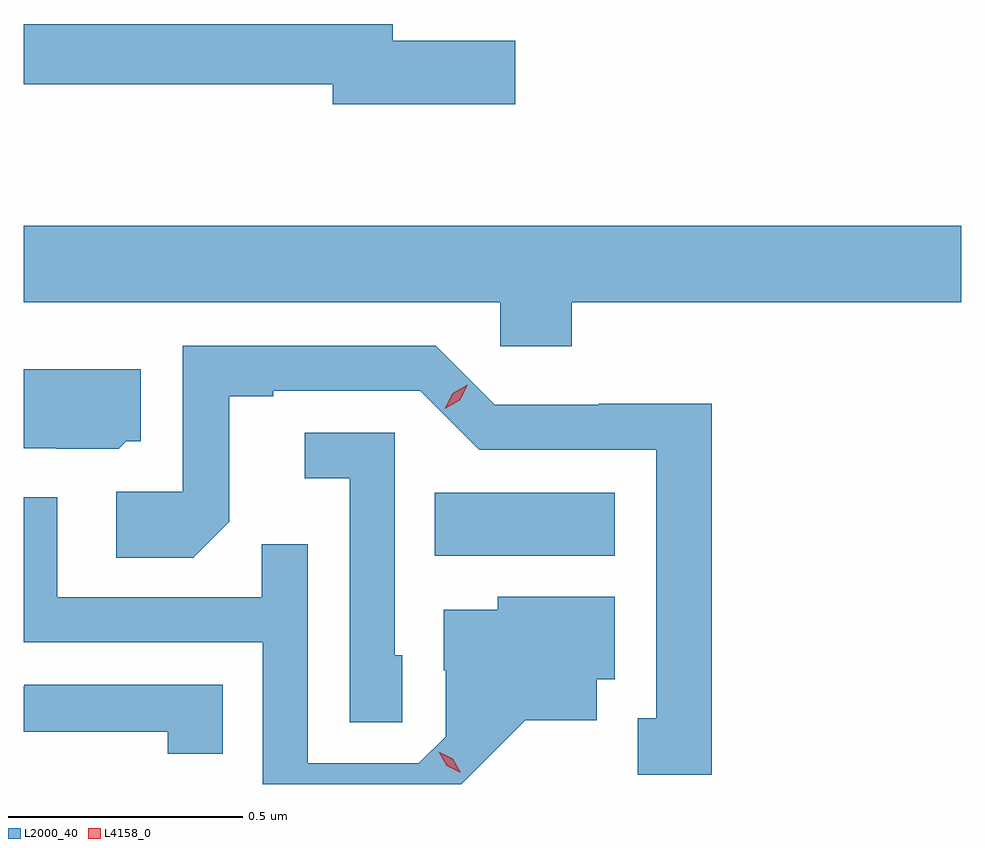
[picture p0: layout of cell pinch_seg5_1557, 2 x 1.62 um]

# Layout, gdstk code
import gdstk
lib = gdstk.Library(unit=1e-6, precision=1e-09)
def R(c, l, rs):  # rectangles x0, y0, x1, y1
    for r in rs: c.add(gdstk.rectangle(r[:2], r[2:], *l))
def P(c, l, *ps):  # polygons
    for p in ps: c.add(gdstk.Polygon(p, *l))
L2000_40 = (2000, 40)
L4158_0 = (4158, 0)

pinch_seg5_1557 = lib.new_cell('pinch_seg5_1557')
R(pinch_seg5_1557, L2000_40, [(315.19,856.22,315.574,856.354)])
P(pinch_seg5_1557, L2000_40, [(315.361,857.318),(315.1,857.318),(315.1,857.354),(314.313,857.354),(314.313,857.226),(314.972,857.226),(314.972,857.183),(315.361,857.183)],
  [(315.482,856.76),(316.313,856.76),(316.313,856.924),(314.313,856.924),(314.313,856.76),(315.33,856.76),(315.33,856.667),(315.482,856.667)],
  [(315.781,856.544),(315.54,856.544),(315.54,856.542),(315.318,856.542),(315.192,856.668),(314.652,856.668),(314.652,856.356),(314.511,856.356),(314.511,856.216),(314.675,856.216),(314.751,856.292),(314.751,856.56),(314.845,856.56),(314.845,856.572),(315.159,856.572),(315.285,856.446),(315.662,856.446),(315.662,855.873),(315.623,855.873),(315.623,855.753),(315.781,855.753)],
  [(314.532,856.464),(314.563,856.464),(314.563,856.618),(314.313,856.618),(314.313,856.449),(314.382,856.449),(314.382,856.448),(314.516,856.448)],
  [(315.12,856.008),(315.105,856.008),(315.105,856.482),(314.913,856.482),(314.913,856.385),(315.009,856.385),(315.009,855.865),(315.12,855.865)],
  [(315.28,855.767),(315.383,855.869),(315.535,855.869),(315.535,855.956),(315.574,855.956),(315.574,856.132),(315.324,856.132),(315.324,856.105),(315.209,856.105),(315.209,855.976),(315.213,855.976),(315.213,855.834),(315.156,855.777),(314.919,855.777),(314.919,856.244),(314.821,856.244),(314.821,856.131),(314.385,856.131),(314.385,856.345),(314.313,856.345),(314.313,856.035),(314.823,856.035),(314.823,855.733),(315.246,855.733)],
  [(314.738,855.945),(314.314,855.945),(314.314,855.942),(314.313,855.942),(314.313,855.844),(314.62,855.844),(314.62,855.798),(314.738,855.798)])
P(pinch_seg5_1557, L4158_0, [(315.211,856.533),(315.211,856.533),(315.228,856.566),(315.26,856.585),(315.26,856.585),(315.26,856.585),(315.243,856.552),(315.211,856.533)],
  [(315.245,855.757),(315.215,855.772),(315.198,855.802),(315.198,855.802),(315.198,855.802),(315.228,855.787),(315.245,855.757),(315.245,855.757)])

lib.write_gds('pinch_seg5_1557.gds')
